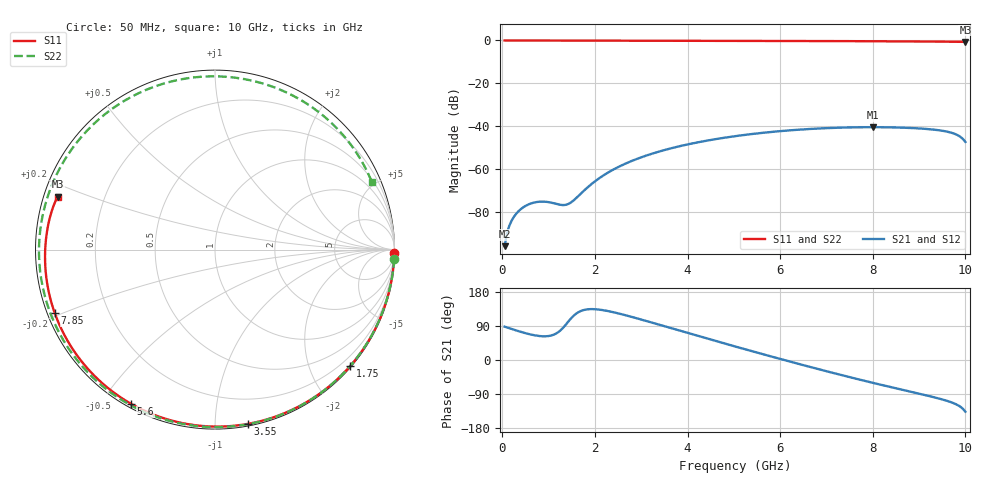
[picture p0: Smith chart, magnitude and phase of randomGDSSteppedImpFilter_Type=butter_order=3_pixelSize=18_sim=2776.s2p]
! freq	dB(S11)	phase(S11)	dB(S12)	phase(S12)
!  dB(S21)	phase(S21)	dB(S22)	phase(S22)
!S-par simulation data
#  GHz  S  DB  R 50
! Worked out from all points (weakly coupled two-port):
!   200 points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, 50 MHz to 10 GHz, reference 50 ohm
!   highest |S21| = -40.52 dB at 8 GHz (marker M1); lowest = -96.1 dB at 50 MHz (marker M2)
!   lowest |S11| = -0.7 dB at 10 GHz (marker M3), VSWR 25.42, Z = 2.02 + j8.18 ohm
!   |S11| at or under -10 dB: nowhere
!   |S22| runs from -0.4 to 0.0 dB; largest |S21 - S12| = 0
!   S11 on the Smith chart (normalised r, x): 50 MHz: 0, -96; 1.75 GHz: 0.02, -2.70; 3.55 GHz: 0.01, -1.21; 5.6 GHz: 0.01, -0.59; 7.85 GHz: 0.02, -0.19; 10 GHz: 0.04, +0.16
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0.05  -0.00 -1.2  -96.12 88.0  -96.12 88.0  -0.00 -3.0
0.35  -0.01 -8.3  -79.79 76.1  -79.79 76.1  -0.03 -20.6
0.45  -0.02 -10.6  -78.00 72.5  -78.00 72.5  -0.04 -26.3
0.7  -0.02 -16.5  -75.67 65.1  -75.67 65.1  -0.05 -40.4
0.95  -0.03 -22.3  -75.40 62.7  -75.40 62.7  -0.07 -54.0
1.4  -0.04 -32.7  -76.62 97.6  -76.62 97.6  -0.09 -76.7
1.75  -0.05 -40.6  -70.46 131.6  -70.46 131.6  -0.10 -92.7
2.1  -0.06 -48.4  -64.26 132.9  -64.26 132.9  -0.11 -107.4
2.45  -0.07 -56.1  -59.73 124.6  -59.73 124.6  -0.12 -120.8
3.4  -0.10 -76.1  -51.82 92.8  -51.82 92.8  -0.14 -152.6
3.55  -0.10 -79.2  -50.92 87.4  -50.92 87.4  -0.15 -157.1
4.3  -0.13 -94.1  -47.27 60.9  -47.27 60.9  -0.17 -178.5
5.05  -0.16 -108.4  -44.66 34.9  -44.66 34.9  -0.20 161.5
5.6  -0.19 -118.5  -43.21 16.2  -43.21 16.2  -0.22 147.2
6.7  -0.26 -138.2  -41.29 -20.1  -41.29 -20.1  -0.26 118.5
7.85  -0.35 -158.4  -40.53 -55.8  -40.53 -55.8  -0.31 87.2
8  -0.37 -161.1  -40.52 -60.2  -40.52 -60.2  -0.32 83.0
8.35  -0.40 -167.3  -40.59 -70.4  -40.59 -70.4  -0.33 72.9
8.95  -0.47 -178.1  -41.04 -87.4  -41.04 -87.4  -0.35 55.3
9.55  -0.55 170.6  -42.37 -105.8  -42.37 -105.8  -0.39 37.1
9.85  -0.62 164.6  -44.45 -120.1  -44.45 -120.1  -0.42 27.9
10  -0.68 161.4  -47.43 -136.4  -47.43 -136.4  -0.43 23.3
